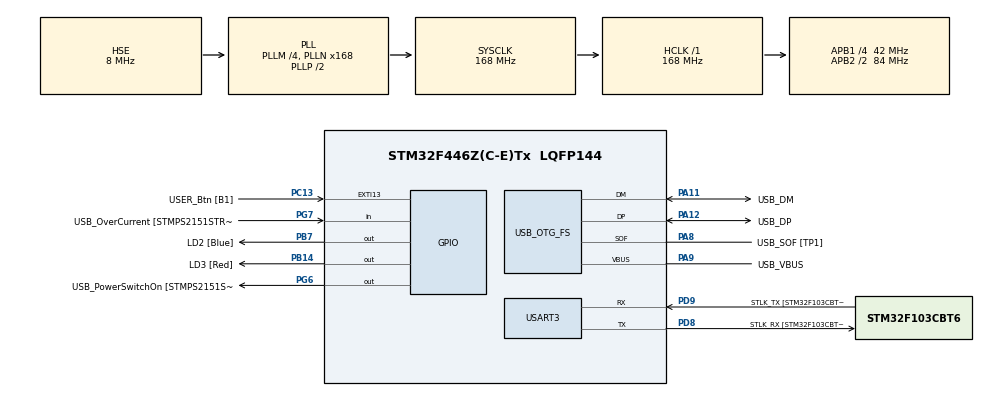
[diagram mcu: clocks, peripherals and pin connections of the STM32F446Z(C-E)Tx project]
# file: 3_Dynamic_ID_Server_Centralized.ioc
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FREERTOS.Tasks01=defaultTask,0,128,StartDefaultTask,Default,NULL
Mcu.Family=STM32F4
Mcu.Name=STM32F446Z(C-E)Tx
Mcu.Package=LQFP144
NVIC.PriorityGroup=NVIC_PRIORITYGROUP_4
NVIC.TIM1_UP_TIM10_IRQn=true\:0\:0\:false\:false\:true\:false\:false\:true
NVIC.TimeBase=TIM1_UP_TIM10_IRQn
NVIC.TimeBaseIP=TIM1
PA10.GPIO_Label=USB_ID
PA10.Signal=USB_OTG_FS_ID
PA11.GPIO_Label=USB_DM
PA11.Mode=Device_Only
PA11.Signal=USB_OTG_FS_DM
PA12.GPIO_Label=USB_DP
PA12.Mode=Device_Only
PA12.Signal=USB_OTG_FS_DP
PA13.GPIO_Label=TMS
PA13.Mode=Serial_Wire
PA13.Signal=SYS_JTMS-SWDIO
PA14.GPIO_Label=TCK
PA14.Mode=Serial_Wire
PA14.Signal=SYS_JTCK-SWCLK
PA8.GPIO_Label=USB_SOF [TP1]
PA8.Mode=Activate_SOF_FS
PA8.Signal=USB_OTG_FS_SOF
PA9.GPIO_Label=USB_VBUS
PA9.Mode=Activate_VBUS
PA9.Signal=USB_OTG_FS_VBUS
PB14.GPIO_Label=LD3 [Red]
PB14.Signal=GPIO_Output
PB7.GPIO_Label=LD2 [Blue]
PB7.Signal=GPIO_Output
PC13.GPIO_Label=USER_Btn [B1]
PC13.Signal=GPXTI13
PC14-OSC32_IN.Mode=LSE-External-Oscillator
PC14-OSC32_IN.Signal=RCC_OSC32_IN
PC15-OSC32_OUT.Mode=LSE-External-Oscillator
PC15-OSC32_OUT.Signal=RCC_OSC32_OUT
PD8.GPIO_Label=STLK_RX [STM32F103CBT6_PA3]
PD8.Mode=Asynchronous
PD8.Signal=USART3_TX
PD9.GPIO_Label=STLK_TX [STM32F103CBT6_PA2]
PD9.Mode=Asynchronous
PD9.Signal=USART3_RX
PG6.GPIO_Label=USB_PowerSwitchOn [STMPS2151STR_EN]
PG6.Signal=GPIO_Output
PG7.GPIO_Label=USB_OverCurrent [STMPS2151STR_FAULT]
PG7.Signal=GPIO_Input
PH0-OSC_IN.GPIO_Label=MCO [STM32F103CBT6_PA8]
PH0-OSC_IN.Mode=HSE-External-Clock-Source
PH0-OSC_IN.Signal=RCC_OSC_IN
PH1-OSC_OUT.Mode=HSE-External-Clock-Source
PH1-OSC_OUT.Signal=RCC_OSC_OUT
ProjectManager.HeapSize=0x200
ProjectManager.StackSize=0x400
ProjectManager.TargetToolchain=STM32CubeIDE
RCC.48MHZClocksFreq_Value=24000000
RCC.AHBFreq_Value=168000000
RCC.APB1CLKDivider=RCC_HCLK_DIV4
RCC.APB1Freq_Value=42000000
RCC.APB1TimFreq_Value=84000000
RCC.APB2CLKDivider=RCC_HCLK_DIV2
RCC.APB2Freq_Value=84000000
RCC.APB2TimFreq_Value=168000000
RCC.CortexFreq_Value=168000000
RCC.HCLKFreq_Value=168000000
RCC.HSE_VALUE=8000000
RCC.HSI_VALUE=16000000
RCC.PLLM=4
RCC.PLLMUL=RCC_PLL_MUL9
RCC.PLLN=168
RCC.PLLQ=7
RCC.PRESCALERUSB=RCC_USBCLKSOURCE_PLL_DIV1_5
RCC.SYSCLKFreq_VALUE=168000000
RCC.SYSCLKSource=RCC_SYSCLKSOURCE_PLLCLK
RCC.SYSCLKSourceVirtual=RCC_SYSCLKSOURCE_PLLCLK
RCC.USBFreq_Value=48000000
RCC.VCOOutputFreq_Value=336000000
USART3.VirtualMode=VM_ASYNC
USB_OTG_FS.VirtualMode=Device_Only
VP_FREERTOS_VS_CMSIS_V1.Mode=CMSIS_V1
VP_SYS_VS_tim1.Mode=TIM1
board=NUCLEO-F446ZE

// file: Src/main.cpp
/* USER CODE BEGIN Header */
/**
  ******************************************************************************
  * @file           : main.c
  * @brief          : Main program body
  ******************************************************************************
  * @attention
  *
  * <h2><center>&copy; Copyright (c) 2019 STMicroelectronics.
  * All rights reserved.</center></h2>
  *
  * This software component is licensed by ST under BSD 3-Clause license,
  * the "License"; You may not use this file except in compliance with the
  * License. You may obtain a copy of the License at:
  *                        opensource.org/licenses/BSD-3-Clause
  *
  ******************************************************************************
  */
/* USER CODE END Header */

#include "main.h"
#include "cmsis_os.h"

/* USER CODE BEGIN Includes */
#include <uavcan_stm32/uavcan_stm32.hpp>
#include <uavcan/uavcan.hpp>

#include <uavcan/protocol/dynamic_node_id_server/centralized.hpp>
#include <uavcan/protocol/dynamic_node_id_server/centralized/server.hpp>
/* USER CODE END Includes */

/* USER CODE BEGIN PD */
#define CAN_THRAD_STACK_SIZE 512

#define DEBUG_BUFFER_SIZE    (256)
#define DEBUG_TIMEOUT        (1000)

/**
 * The STM32 factory-programmed UUID memory.
 * Three values of 32 bits each starting at this address
 * Use like this: STM32_UUID[0], STM32_UUID[1], STM32_UUID[2]
 */
typedef std::array<std::uint8_t, 12> UUID;
UUID readUniqueID();
/* USER CODE END PD */

UART_HandleTypeDef huart3;

PCD_HandleTypeDef hpcd_USB_OTG_FS;

osThreadId defaultTaskHandle;
/* USER CODE BEGIN PV */
uint32_t defaultTaskBuffer[ CAN_THRAD_STACK_SIZE ];
osStaticThreadDef_t defaultTaskControlBlock;

osSemaphoreId DEBUG_TX_completeID;
osSemaphoreDef(DEBUG_TX_complete);
uint8_t DEBUG_TX_Buffer[DEBUG_BUFFER_SIZE] = {0};  //!< Debug buffer.
/* USER CODE END PV */

void SystemClock_Config(void);
static void MX_GPIO_Init(void);
static void MX_USART3_UART_Init(void);
static void MX_USB_OTG_FS_PCD_Init(void);

/* USER CODE BEGIN PFP */
extern "C" {
	void StartDefaultTask(void const * argument);
}

bool DEBUG_Init(void);
void DEBUG_Printf(const char *fmt, ...);

/* USER CODE END PFP */

/* USER CODE BEGIN 0 */
constexpr unsigned NodePoolSize = 8192;
uavcan_stm32::CanInitHelper<> can;

uavcan::Node<NodePoolSize>& getNode() {
    static uavcan::Node<NodePoolSize> node(can.driver, uavcan_stm32::SystemClock::instance());
    return node;
}
/* USER CODE END 0 */

int main(void)
{

  /* MCU Configuration--------------------------------------------------------*/

  /* Reset of all peripherals, Initializes the Flash interface and the Systick. */
  HAL_Init();

  /* Configure the system clock */
  SystemClock_Config();

  /* Initialize all configured peripherals */
  MX_GPIO_Init();
  MX_USART3_UART_Init();
  MX_USB_OTG_FS_PCD_Init();
  /* USER CODE BEGIN 2 */

  GPIO_InitTypeDef GPIO_InitStruct = {0};

  __HAL_RCC_CAN1_CLK_ENABLE();

  __HAL_RCC_GPIOD_CLK_ENABLE();
  /**CAN1 GPIO Configuration
  PD0     ------> CAN1_RX
  PD1     ------> CAN1_TX
  */
  GPIO_InitStruct.Pin = GPIO_PIN_0|GPIO_PIN_1;
  GPIO_InitStruct.Mode = GPIO_MODE_AF_PP;
  GPIO_InitStruct.Pull = GPIO_NOPULL;
  GPIO_InitStruct.Speed = GPIO_SPEED_FREQ_VERY_HIGH;
  GPIO_InitStruct.Alternate = GPIO_AF9_CAN1;
  HAL_GPIO_Init(GPIOD, &GPIO_InitStruct);

  DEBUG_Init();

  /* USER CODE END 2 */

  /* Create the thread(s) */
  /* definition and creation of defaultTask */
  osThreadStaticDef(defaultTask, StartDefaultTask, osPriorityNormal, 0, CAN_THRAD_STACK_SIZE, defaultTaskBuffer, &defaultTaskControlBlock);
  defaultTaskHandle = osThreadCreate(osThread(defaultTask), NULL);

  /* Start scheduler */
  osKernelStart();

  /* We should never get here as control is now taken by the scheduler */

  /* Infinite loop */
  while (1)
  {

  }
}

void SystemClock_Config(void)
{
  RCC_OscInitTypeDef RCC_OscInitStruct = {0};
  RCC_ClkInitTypeDef RCC_ClkInitStruct = {0};
  RCC_PeriphCLKInitTypeDef PeriphClkInitStruct = {0};

  /** Configure the main internal regulator output voltage
  */
  __HAL_RCC_PWR_CLK_ENABLE();
  __HAL_PWR_VOLTAGESCALING_CONFIG(PWR_REGULATOR_VOLTAGE_SCALE1);
  /** Initializes the CPU, AHB and APB busses clocks
  */
  RCC_OscInitStruct.OscillatorType = RCC_OSCILLATORTYPE_HSE;
  RCC_OscInitStruct.HSEState = RCC_HSE_BYPASS;
  RCC_OscInitStruct.PLL.PLLState = RCC_PLL_ON;
  RCC_OscInitStruct.PLL.PLLSource = RCC_PLLSOURCE_HSE;
  RCC_OscInitStruct.PLL.PLLM = 4;
  RCC_OscInitStruct.PLL.PLLN = 168;
  RCC_OscInitStruct.PLL.PLLP = RCC_PLLP_DIV2;
  RCC_OscInitStruct.PLL.PLLQ = 7;
  RCC_OscInitStruct.PLL.PLLR = 2;
  if (HAL_RCC_OscConfig(&RCC_OscInitStruct) != HAL_OK)
  {
    Error_Handler();
  }
  /** Initializes the CPU, AHB and APB busses clocks
  */
  RCC_ClkInitStruct.ClockType = RCC_CLOCKTYPE_HCLK|RCC_CLOCKTYPE_SYSCLK
                              |RCC_CLOCKTYPE_PCLK1|RCC_CLOCKTYPE_PCLK2;
  RCC_ClkInitStruct.SYSCLKSource = RCC_SYSCLKSOURCE_PLLCLK;
  RCC_ClkInitStruct.AHBCLKDivider = RCC_SYSCLK_DIV1;
  RCC_ClkInitStruct.APB1CLKDivider = RCC_HCLK_DIV4;
  RCC_ClkInitStruct.APB2CLKDivider = RCC_HCLK_DIV2;

  if (HAL_RCC_ClockConfig(&RCC_ClkInitStruct, FLASH_LATENCY_5) != HAL_OK)
  {
    Error_Handler();
  }
  PeriphClkInitStruct.PeriphClockSelection = RCC_PERIPHCLK_CLK48;
  PeriphClkInitStruct.Clk48ClockSelection = RCC_CLK48CLKSOURCE_PLLQ;
  if (HAL_RCCEx_PeriphCLKConfig(&PeriphClkInitStruct) != HAL_OK)
  {
    Error_Handler();
  }
}

static void MX_USART3_UART_Init(void)
{

  huart3.Instance = USART3;
  huart3.Init.BaudRate = 115200;
  huart3.Init.WordLength = UART_WORDLENGTH_8B;
  huart3.Init.StopBits = UART_STOPBITS_1;
  huart3.Init.Parity = UART_PARITY_NONE;
  huart3.Init.Mode = UART_MODE_TX_RX;
  huart3.Init.HwFlowCtl = UART_HWCONTROL_NONE;
  huart3.Init.OverSampling = UART_OVERSAMPLING_16;
  if (HAL_UART_Init(&huart3) != HAL_OK)
  {
    Error_Handler();
  }

}

static void MX_USB_OTG_FS_PCD_Init(void)
{

  hpcd_USB_OTG_FS.Instance = USB_OTG_FS;
  hpcd_USB_OTG_FS.Init.dev_endpoints = 6;
  hpcd_USB_OTG_FS.Init.speed = PCD_SPEED_FULL;
  hpcd_USB_OTG_FS.Init.dma_enable = DISABLE;
  hpcd_USB_OTG_FS.Init.phy_itface = PCD_PHY_EMBEDDED;
  hpcd_USB_OTG_FS.Init.Sof_enable = ENABLE;
  hpcd_USB_OTG_FS.Init.low_power_enable = DISABLE;
  hpcd_USB_OTG_FS.Init.lpm_enable = DISABLE;
  hpcd_USB_OTG_FS.Init.vbus_sensing_enable = ENABLE;
  hpcd_USB_OTG_FS.Init.use_dedicated_ep1 = DISABLE;
  if (HAL_PCD_Init(&hpcd_USB_OTG_FS) != HAL_OK)
  {
    Error_Handler();
  }

}

static void MX_GPIO_Init(void)
{
  GPIO_InitTypeDef GPIO_InitStruct = {0};

  /* GPIO Ports Clock Enable */
  __HAL_RCC_GPIOC_CLK_ENABLE();
  __HAL_RCC_GPIOH_CLK_ENABLE();
  __HAL_RCC_GPIOB_CLK_ENABLE();
  __HAL_RCC_GPIOD_CLK_ENABLE();
  __HAL_RCC_GPIOG_CLK_ENABLE();
  __HAL_RCC_GPIOA_CLK_ENABLE();

  /*Configure GPIO pin Output Level */
  HAL_GPIO_WritePin(GPIOB, LD3_Pin|LD2_Pin, GPIO_PIN_RESET);

  /*Configure GPIO pin Output Level */
  HAL_GPIO_WritePin(USB_PowerSwitchOn_GPIO_Port, USB_PowerSwitchOn_Pin, GPIO_PIN_RESET);

  /*Configure GPIO pin : USER_Btn_Pin */
  GPIO_InitStruct.Pin = USER_Btn_Pin;
  GPIO_InitStruct.Mode = GPIO_MODE_IT_RISING;
  GPIO_InitStruct.Pull = GPIO_NOPULL;
  HAL_GPIO_Init(USER_Btn_GPIO_Port, &GPIO_InitStruct);

  /*Configure GPIO pins : LD3_Pin LD2_Pin */
  GPIO_InitStruct.Pin = LD3_Pin|LD2_Pin;
  GPIO_InitStruct.Mode = GPIO_MODE_OUTPUT_PP;
  GPIO_InitStruct.Pull = GPIO_NOPULL;
  GPIO_InitStruct.Speed = GPIO_SPEED_FREQ_LOW;
  HAL_GPIO_Init(GPIOB, &GPIO_InitStruct);

  /*Configure GPIO pin : USB_PowerSwitchOn_Pin */
  GPIO_InitStruct.Pin = USB_PowerSwitchOn_Pin;
  GPIO_InitStruct.Mode = GPIO_MODE_OUTPUT_PP;
  GPIO_InitStruct.Pull = GPIO_NOPULL;
  GPIO_InitStruct.Speed = GPIO_SPEED_FREQ_LOW;
  HAL_GPIO_Init(USB_PowerSwitchOn_GPIO_Port, &GPIO_InitStruct);

  /*Configure GPIO pin : USB_OverCurrent_Pin */
  GPIO_InitStruct.Pin = USB_OverCurrent_Pin;
  GPIO_InitStruct.Mode = GPIO_MODE_INPUT;
  GPIO_InitStruct.Pull = GPIO_NOPULL;
  HAL_GPIO_Init(USB_OverCurrent_GPIO_Port, &GPIO_InitStruct);

}

/* USER CODE BEGIN 4 */
bool DEBUG_Init(void)
{
    if ((DEBUG_TX_completeID = osSemaphoreCreate(osSemaphore(DEBUG_TX_complete), 1)) == NULL)
    {
        return false;
    }
    return true;
}

void DEBUG_Printf(const char *fmt, ...)
{
    uint16_t i = 0;
    va_list args;
    if (osSemaphoreWait(DEBUG_TX_completeID, 1000) == osOK)
    {
        va_start(args, fmt);
        i = vsnprintf((char*) DEBUG_TX_Buffer, DEBUG_BUFFER_SIZE - 1, fmt, args);
        DEBUG_TX_Buffer[i] = 0x00;

        uint16_t retry = 4096;

        while ((retry--)&&(HAL_UART_Transmit(&huart3, &DEBUG_TX_Buffer[0], strlen((char*)&DEBUG_TX_Buffer[0]), 0xFFF) != HAL_OK));

        va_end(args);
        osSemaphoreRelease(DEBUG_TX_completeID);
    }
    return;
}

UUID readUniqueID()
{
   UUID out_bytes;
   memcpy(out_bytes.data(), reinterpret_cast<const void*>(0x1FFF7A10), std::tuple_size<UUID>::value);
   return out_bytes;
}

/* USER CODE END 4 */

void StartDefaultTask(void const * argument)
{

  /* USER CODE BEGIN 5 */

	uint32_t value = 1000000;

	can.init(value);

	getNode().setName("org.test.DynamicIDServerCentralized");
	getNode().setNodeID(5);

	UUID uuid = readUniqueID();
	//DEBUG_Printf("%lu\r\n", uuid);
	uavcan::protocol::HardwareVersion hwver;
	memcpy(&hwver.unique_id, &uuid, sizeof(uuid));
	getNode().setHardwareVersion(hwver);

	if (getNode().start() < 0) {
		DEBUG_Printf("UAVCAN start fail\r\n");
	    while (1);
	}

/*
	uavcan::dynamic_node_id_server::IEventTracer event_tracer;
	uavcan::dynamic_node_id_server::IStorageBackend storage_backend;

	uavcan::dynamic_node_id_server::CentralizedServer server(getNode());

    // USING THE SAME UNIQUE ID HERE
    const int server_init_res = server.init(getNode().getHardwareVersion().unique_id);
    if (server_init_res < 0)
    {
    	DEBUG_Printf("Failed to start the server\r\n");
    }
*/
	getNode().setModeOperational();

  /* Infinite loop */
  for(;;)
  {
	  const int res = getNode().spin(uavcan::MonotonicDuration::fromMSec(500));
	  if (res < 0) {
		  DEBUG_Printf("UAVCAN spin fail\r\n");
		  while(1);
	  }
  }
  /* USER CODE END 5 */
}

void HAL_TIM_PeriodElapsedCallback(TIM_HandleTypeDef *htim)
{
  if (htim->Instance == TIM1) {
    HAL_IncTick();
  }
}

void Error_Handler(void)
{
}

/************************ (C) COPYRIGHT STMicroelectronics *****END OF FILE****/
